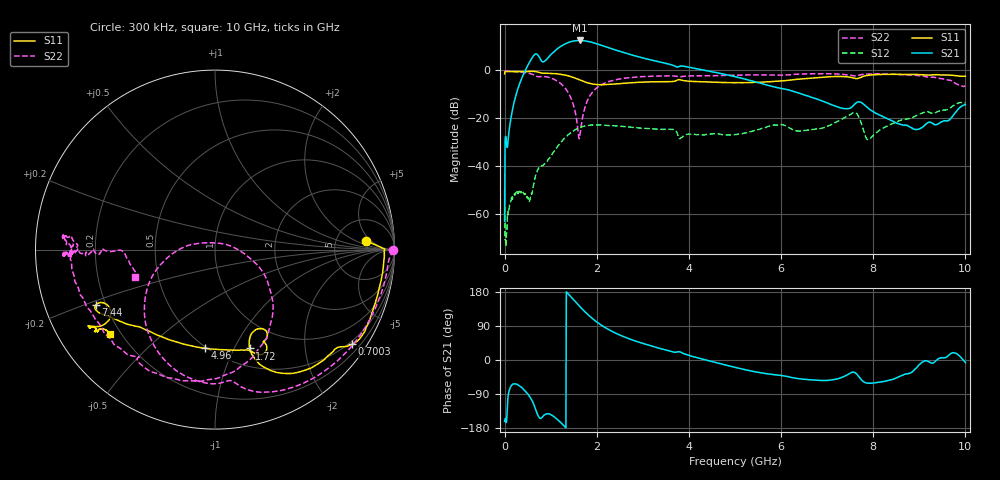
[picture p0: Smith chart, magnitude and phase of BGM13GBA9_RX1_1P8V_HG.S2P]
!Agilent Technologies,E5071C,MY46316587,B.13.01
!Date: Wed Dec 06 12:10:28 2017
!Data & Calibration Information:
!Freq	S11:SOLT2(ON)	S21:SOLT2(ON)	S12:SOLT2(ON)	S22:SOLT2(ON)
!PortZ  Port1:50+j0  Port2:50+j0
!Above PortZ is port z conversion or system Z0 setting when saving the data.
!When reading, reference impedance value at option line is always used.
# Hz S RI R 50
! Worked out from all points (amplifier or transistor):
!   1001 points, 300 kHz to 10 GHz, reference 50 ohm
!   highest |S21| = 12.5 dB at 1.63 GHz (marker M1)
!   |S21| within 3 dB of that: 1.179 GHz to 2.252 GHz (1.073 GHz wide, 62.5 % of centre)
!   unconditionally stable (mu >= 1): start of sweep to end of sweep
!   at 1.66 GHz: K = 1.26, MAG = 15.0 dB, |S12| = -23.7 dB
!   at 5 GHz: K = 3.77, MAG = 3.4 dB, |S12| = -26.9 dB
!   at 10 GHz: K = 4.06, MAG = -9.4 dB, |S12| = -13.7 dB
!   lowest NFmin = 0.67 dB at 1.6 GHz
!   S11 on the Smith chart (normalised r, x): 300 kHz: 10, +4; 700.3 MHz: 0.42, -3.16; 1.72 GHz: 0.69, -1.15; 4.96 GHz: 0.49, -0.77; 7.44 GHz: 0.16, -0.22; 10 GHz: 0.16, -0.35
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300000  0.8407 0.0502  -0.000659 -0.00022  0.00112 -0.00286  0.9926 -0.00284
6.02982e7  0.9429 -0.0424  -0.0135 -0.0205  -0.000189 0.000968  0.955 -0.1365
1.602952e8  0.9346 -0.1195  0.0549 -0.1201  0.000535 0.00236  0.89 -0.3334
4.702859e8  0.8786 -0.3416  0.1015 -1.093  0.000482 0.00223  0.4741 -0.752
6.102817e8  0.8359 -0.4526  -0.6728 -1.79  -0.00267 0.00155  0.2207 -0.7908
7.00279e8  0.7631 -0.5274  -1.658 -1.418  -0.00634 0.00371  0.107 -0.7387
7.902763e8  0.6931 -0.5431  -1.458 -0.7132  -0.00724 0.00666  0.0383 -0.7415
9.202724e8  0.6462 -0.5783  -1.357 -1.065  -0.00961 0.00794  -0.1448 -0.7139
1.190264e9  0.4908 -0.6755  -2.885 -0.9546  -0.0214 0.0191  -0.3892 -0.3966
1.420257e9  0.3198 -0.6771  -3.862 0.7254  -0.0241 0.0421  -0.2821 -0.0615
1.630251e9  0.2125 -0.5937  -3.3 2.629  -0.0106 0.0624  0.0199 0.0355
1.67025e9  0.2007 -0.5742  -3.043 2.904  -0.00655 0.0654  0.074 0.0247
1.720248e9  0.1931 -0.5506  -2.683 3.181  -0.00147 0.0676  0.1379 -0.00566
1.950242e9  0.2037 -0.4678  -0.959 3.599  0.0218 0.0688  0.3091 -0.2331
2.32023e9  0.2584 -0.4401  0.6779 2.754  0.0406 0.0563  0.2425 -0.5544
3.3402e9  0.2778 -0.5075  1.293 0.7942  0.0492 0.0323  -0.257 -0.7147
4.960151e9  -0.0567 -0.5492  0.7156 -0.2347  0.0301 0.0332  -0.7542 -0.2417
5.00015e9  -0.0715 -0.5475  0.6969 -0.2456  0.0296 0.0342  -0.7582 -0.2232
6.6701e9  -0.5789 -0.378  0.1639 -0.215  0.034 0.0468  -0.8438 0.0674
7.440077e9  -0.6653 -0.3085  0.1223 -0.0995  0.0649 0.0883  -0.8007 0.076
8.34005e9  -0.7064 -0.4237  0.0558 -0.0754  0.0243 0.0673  -0.8337 -0.0342
1e10  -0.5861 -0.4726  0.1894 -0.0215  0.1964 0.063  -0.4453 -0.1538
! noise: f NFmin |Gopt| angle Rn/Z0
1.1e+09  0.7587  0.5592  35.11  0.2637
1.15e+09  0.7527  0.549  36.52  0.2545
1.2e+09  0.7308  0.5416  37.72  0.2471
1.3e+09  0.72  0.5324  39.65  0.2372
1.35e+09  0.7108  0.5242  42.01  0.2382
1.4e+09  0.7008  0.5208  42.21  0.2298
1.5e+09  0.6717  0.5089  45.09  0.2225
1.55e+09  0.6707  0.5034  45.24  0.2229
1.6e+09  0.67  0.5015  47.06  0.2183
1.7e+09  0.6836  0.5087  49.67  0.2185
